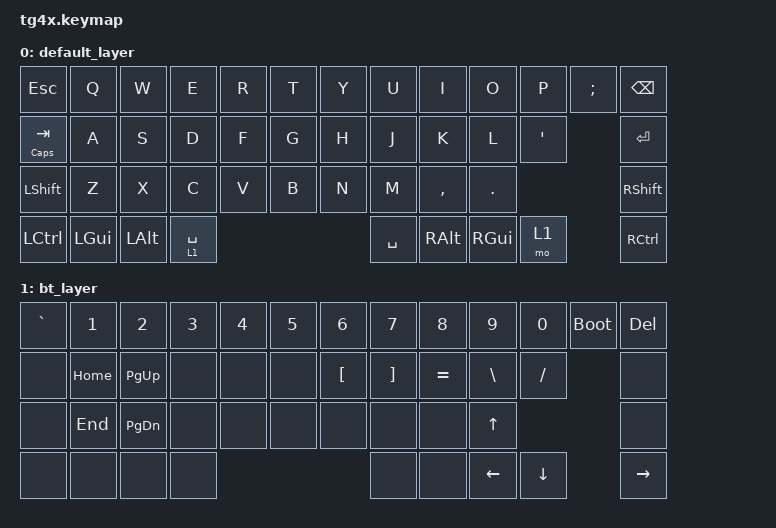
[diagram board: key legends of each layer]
/*
 * Copyright (c) 2020 The ZMK Contributors
 *
 * SPDX-License-Identifier: MIT
 */

#include <behaviors.dtsi>
#include <dt-bindings/zmk/keys.h>
#include <dt-bindings/zmk/bt.h>

/ {
	behaviors {
		ht: hold_tap {
			compatible = "zmk,behavior-hold-tap";
			label = "Hold Tap";
			#binding-cells = <2>;
			tapping-term-ms = <200>;
			flavor = "tap-preferred";
			bindings = <&kp>, <&kp>;
		};
	};

	keymap {
		compatible = "zmk,keymap";

		default_layer {
			bindings = <
&kp ESC      &kp Q    &kp W    &kp E       &kp R &kp T &kp Y &kp U    &kp I     &kp O    &kp P    &kp SEMI  &kp BSPC
&ht CAPS TAB &kp A    &kp S    &kp D       &kp F &kp G &kp H &kp J    &kp K     &kp L    &kp APOS           &kp RET
&kp LSHFT    &kp Z    &kp X    &kp C       &kp V &kp B &kp N &kp M    &kp COMMA &kp DOT                     &kp RSHFT
&kp LCTRL    &kp LGUI &kp LALT &lt 1 SPACE                  &kp SPACE &kp RALT  &kp RGUI &mo 1              &kp RCTRL
			>;
		};

		bt_layer {
			bindings = <
&kp GRAVE &kp N1   &kp N2    &kp N3 &kp N4 &kp N5 &kp N6   &kp N7   &kp N8    &kp N9    &kp N0   &bootloader &kp DEL
&none     &kp HOME &kp PG_UP &none &none &none &kp LBKT &kp RBKT &kp EQUAL &kp BSLH  &kp FSLH           &none
&none    &kp END  &kp PG_DN &none &none &none &none   &none   &none    &kp UP                       &none
&none    &none   &none    &none                        &none   &none    &kp LEFT  &kp DOWN           &kp RIGHT
			>;
		};
	};
};
